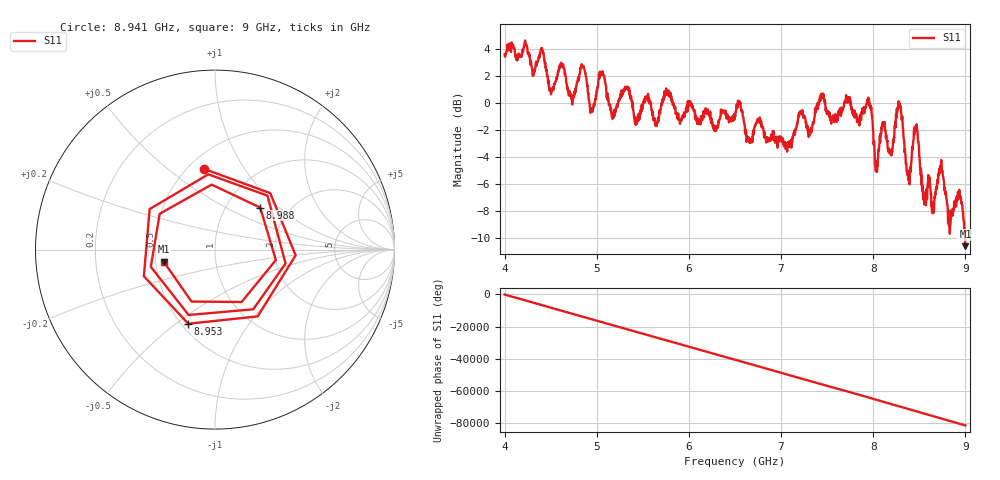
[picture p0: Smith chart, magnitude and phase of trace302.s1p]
! Created with skrf 1.8.0 (http://scikit-rf.org).
# Hz S RI R 50.0
!freq ReS11 ImS11
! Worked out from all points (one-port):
!   1601 points, 4 GHz to 9 GHz, reference 50 ohm
!   lowest |S11| = -10.6 dB at 9 GHz (marker M1), VSWR 1.83, Z = 27.6 - j4.05 ohm
!   |S11| at or under -10 dB: 8.997164 GHz to end of sweep
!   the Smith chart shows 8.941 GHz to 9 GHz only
!   S11 on the Smith chart (normalised r, x): 8.941 GHz: 0.60, +0.68; 8.953 GHz: 0.54, -0.55; 8.988 GHz: 1.44, +0.76; 9 GHz: 0.55, -0.08
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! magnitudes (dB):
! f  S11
! 4 GHz  3.6
! 4.403 GHz  4.0
! 4.506 GHz  0.7
! 4.625 GHz  2.8
! 4.734 GHz  -0.1
! 4.853 GHz  2.8
! 4.947 GHz  -0.7
! 5.05 GHz  2.2
! 5.172 GHz  -0.9
! 5.25 GHz  0.3
! 5.875 GHz  -1.1
! 6.5 GHz  -0.9
! 7.125 GHz  -2.5
! 7.75 GHz  0.3
! 7.956 GHz  0.0
! 8.038 GHz  -4.5
! 8.109 GHz  -1.6
! 8.197 GHz  -3.5
! 8.281 GHz  -0.1
! 8.375 GHz  -5.4
! 8.466 GHz  -1.7
! 8.559 GHz  -7.2
! 8.731 GHz  -4.7
! 8.834 GHz  -9.2
! 8.941 GHz  -6.9
! 8.953 GHz  -7.2
! 8.988 GHz  -9.3
! 9 GHz  -10.6
